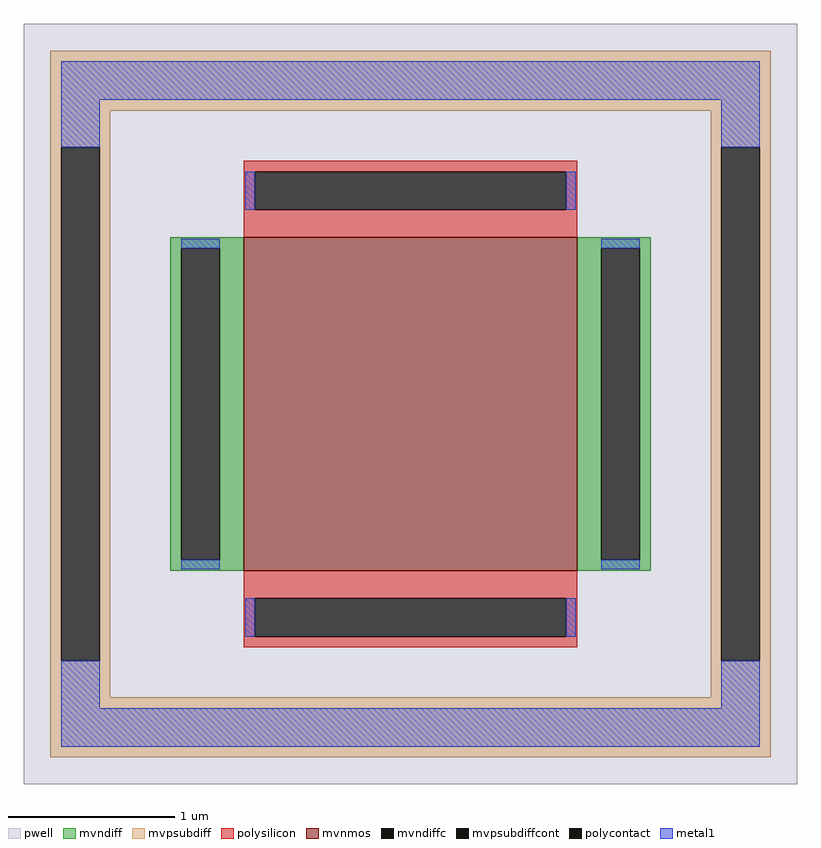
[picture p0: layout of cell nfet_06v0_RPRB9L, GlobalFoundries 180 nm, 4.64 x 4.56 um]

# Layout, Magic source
magic
tech gf180mcuD
magscale 1 10
<< pwell >>
rect -464 -456 464 456
<< mvnmos >>
rect -200 -200 200 200
<< mvndiff >>
rect -288 187 -200 200
rect -288 -187 -275 187
rect -229 -187 -200 187
rect -288 -200 -200 -187
rect 200 187 288 200
rect 200 -187 229 187
rect 275 -187 288 187
rect 200 -200 288 -187
<< mvndiffc >>
rect -275 -187 -229 187
rect 229 -187 275 187
<< mvpsubdiff >>
rect -432 352 432 424
rect -432 308 -360 352
rect -432 -308 -419 308
rect -373 -308 -360 308
rect 360 308 432 352
rect -432 -352 -360 -308
rect 360 -308 373 308
rect 419 -308 432 308
rect 360 -352 432 -308
rect -432 -424 432 -352
<< mvpsubdiffcont >>
rect -419 -308 -373 308
rect 373 -308 419 308
<< polysilicon >>
rect -200 279 200 292
rect -200 233 -187 279
rect 187 233 200 279
rect -200 200 200 233
rect -200 -233 200 -200
rect -200 -279 -187 -233
rect 187 -279 200 -233
rect -200 -292 200 -279
<< polycontact >>
rect -187 233 187 279
rect -187 -279 187 -233
<< metal1 >>
rect -419 365 419 411
rect -419 308 -373 365
rect 373 308 419 365
rect -198 233 -187 279
rect 187 233 198 279
rect -275 187 -229 198
rect -275 -198 -229 -187
rect 229 187 275 198
rect 229 -198 275 -187
rect -198 -279 -187 -233
rect 187 -279 198 -233
rect -419 -365 -373 -308
rect 373 -365 419 -308
rect -419 -411 419 -365
<< properties >>
string FIXED_BBOX -396 -388 396 388
string gencell nfet_06v0
string library gf180mcu
string parameters w 2.0 l 2.0 m 1 nf 1 diffcov 100 polycov 100 guard 1 glc 1 grc 1 gtc 0 gbc 0 tbcov 100 rlcov 100 topc 1 botc 1 poverlap 0 doverlap 1 lmin 0.6 wmin 0.3 class mosfet full_metal 1 compatible {nfet_03v3 nfet_06v0 nfet_06v0_nvt}
<< end >>
